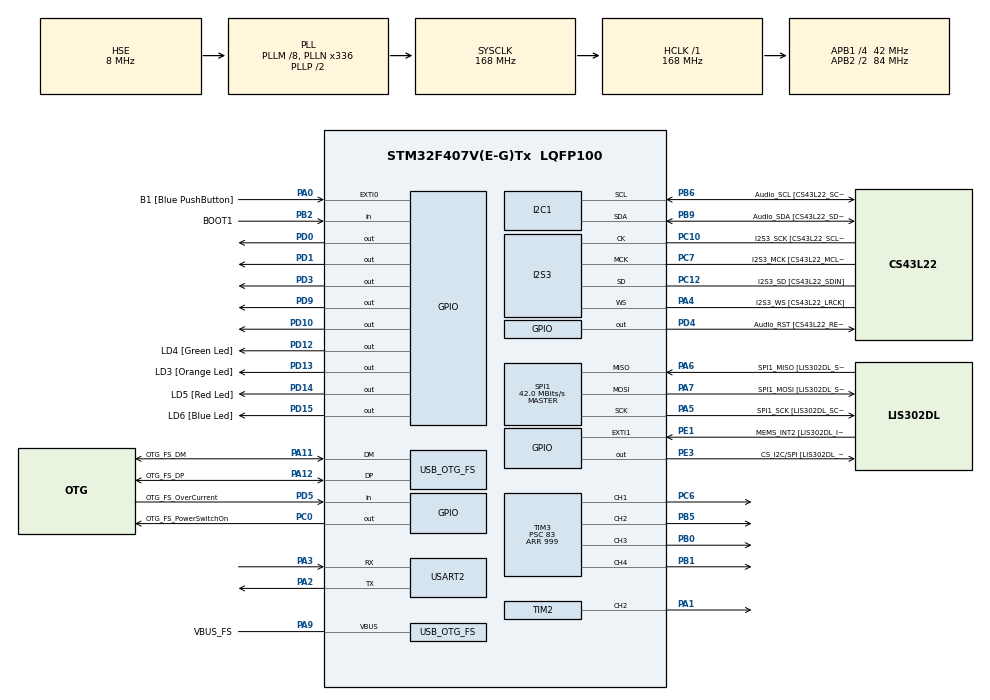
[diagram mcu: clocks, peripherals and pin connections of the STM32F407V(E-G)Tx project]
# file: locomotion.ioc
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I2S3.AudioFreq-Half_Duplex_Master=I2S_AUDIOFREQ_96K
I2S3.ErrorAudioFreq=-2.34 %
I2S3.ErrorAudioFreq-Half_Duplex_Master=0.8 %
I2S3.FullDuplexMode=I2S_FULLDUPLEXMODE_DISABLE
I2S3.Instance=SPI$Index
I2S3.RealAudioFreq=93.75 KHz
I2S3.RealAudioFreq-Half_Duplex_Master=96.774 KHz
I2S3.VirtualMode=I2S_MODE_MASTER
Mcu.Family=STM32F4
Mcu.Name=STM32F407V(E-G)Tx
Mcu.Package=LQFP100
NVIC.OTG_FS_IRQn=true\:0\:0\:false\:false\:true\:true\:true\:true
NVIC.PriorityGroup=NVIC_PRIORITYGROUP_0
PA0-WKUP.GPIO_Label=B1 [Blue PushButton]
PA0-WKUP.GPIO_ModeDefaultEXTI=GPIO_MODE_EVT_RISING
PA0-WKUP.GPIO_PuPd=GPIO_NOPULL
PA0-WKUP.Signal=GPXTI0
PA1.Signal=S_TIM2_CH2
PA10.GPIO_Label=OTG_FS_ID
PA10.GPIO_Mode=GPIO_MODE_AF_PP
PA10.GPIO_PuPd=GPIO_NOPULL
PA10.GPIO_Speed=GPIO_SPEED_FREQ_LOW
PA10.Signal=USB_OTG_FS_ID
PA11.GPIO_Label=OTG_FS_DM
PA11.GPIO_Mode=GPIO_MODE_AF_PP
PA11.GPIO_PuPd=GPIO_NOPULL
PA11.GPIO_Speed=GPIO_SPEED_FREQ_LOW
PA11.Mode=Host_Only
PA11.Signal=USB_OTG_FS_DM
PA12.GPIO_Label=OTG_FS_DP
PA12.GPIO_Mode=GPIO_MODE_AF_PP
PA12.GPIO_PuPd=GPIO_NOPULL
PA12.GPIO_Speed=GPIO_SPEED_FREQ_LOW
PA12.Mode=Host_Only
PA12.Signal=USB_OTG_FS_DP
PA13.GPIO_Label=SWDIO
PA13.Mode=Serial_Wire
PA13.Signal=SYS_JTMS-SWDIO
PA14.GPIO_Label=SWCLK
PA14.Mode=Serial_Wire
PA14.Signal=SYS_JTCK-SWCLK
PA2.Mode=Asynchronous
PA2.Signal=USART2_TX
PA3.Mode=Asynchronous
PA3.Signal=USART2_RX
PA4.GPIO_Label=I2S3_WS [CS43L22_LRCK]
PA4.GPIO_Mode=GPIO_MODE_AF_PP
PA4.GPIO_PuPd=GPIO_NOPULL
PA4.GPIO_Speed=GPIO_SPEED_FREQ_LOW
PA4.Mode=Half_Duplex_Master
PA4.Signal=I2S3_WS
PA5.GPIO_Label=SPI1_SCK [LIS302DL_SCL/SPC]
PA5.GPIO_Mode=GPIO_MODE_AF_PP
PA5.GPIO_PuPd=GPIO_NOPULL
PA5.GPIO_Speed=GPIO_SPEED_FREQ_LOW
PA5.Mode=Full_Duplex_Master
PA5.Signal=SPI1_SCK
PA6.GPIO_Label=SPI1_MISO [LIS302DL_SDO]
PA6.GPIO_Mode=GPIO_MODE_AF_PP
PA6.GPIO_PuPd=GPIO_NOPULL
PA6.GPIO_Speed=GPIO_SPEED_FREQ_LOW
PA6.Mode=Full_Duplex_Master
PA6.Signal=SPI1_MISO
PA7.GPIO_Label=SPI1_MOSI [LIS302DL_SDA/SDI/SDO]
PA7.GPIO_Mode=GPIO_MODE_AF_PP
PA7.GPIO_PuPd=GPIO_NOPULL
PA7.GPIO_Speed=GPIO_SPEED_FREQ_LOW
PA7.Mode=Full_Duplex_Master
PA7.Signal=SPI1_MOSI
PA9.GPIO_Label=VBUS_FS
PA9.GPIO_Mode=GPIO_MODE_INPUT
PA9.GPIO_PuPd=GPIO_NOPULL
PA9.Mode=Activate_VBUS
PA9.Signal=USB_OTG_FS_VBUS
PB0.Signal=S_TIM3_CH3
PB1.Signal=S_TIM3_CH4
PB10.GPIO_Label=CLK_IN [MP45DT02_CLK]
PB10.GPIO_Mode=GPIO_MODE_AF_PP
PB10.GPIO_PuPd=GPIO_NOPULL
PB10.GPIO_Speed=GPIO_SPEED_FREQ_LOW
PB10.Signal=I2S2_CK
PB2.GPIO_Label=BOOT1
PB2.GPIO_Mode=GPIO_MODE_INPUT
PB2.GPIO_PuPd=GPIO_NOPULL
PB2.Signal=GPIO_Input
PB3.GPIO_Label=SWO
PB3.Signal=SYS_JTDO-SWO
PB5.Signal=S_TIM3_CH2
PB6.GPIO_Label=Audio_SCL [CS43L22_SCL]
PB6.GPIO_Mode=GPIO_MODE_AF_OD
PB6.GPIO_Pu=GPIO_PULLUP
PB6.GPIO_PuPd=GPIO_NOPULL
PB6.GPIO_Speed=GPIO_SPEED_FREQ_LOW
PB6.Mode=I2C
PB6.Signal=I2C1_SCL
PB9.GPIO_Label=Audio_SDA [CS43L22_SDA]
PB9.GPIO_Mode=GPIO_MODE_AF_OD
PB9.GPIO_Pu=GPIO_PULLUP
PB9.GPIO_PuPd=GPIO_NOPULL
PB9.GPIO_Speed=GPIO_SPEED_FREQ_LOW
PB9.Mode=I2C
PB9.Signal=I2C1_SDA
PC0.GPIO_Label=OTG_FS_PowerSwitchOn
PC0.GPIO_PuPd=GPIO_NOPULL
PC0.GPIO_Speed=GPIO_SPEED_FREQ_LOW
PC0.PinState=GPIO_PIN_SET
PC0.Signal=GPIO_Output
PC10.GPIO_Label=I2S3_SCK [CS43L22_SCLK]
PC10.GPIO_Mode=GPIO_MODE_AF_PP
PC10.GPIO_PuPd=GPIO_NOPULL
PC10.GPIO_Speed=GPIO_SPEED_FREQ_LOW
PC10.Mode=Half_Duplex_Master
PC10.Signal=I2S3_CK
PC12.GPIO_Label=I2S3_SD [CS43L22_SDIN]
PC12.GPIO_Mode=GPIO_MODE_AF_PP
PC12.GPIO_PuPd=GPIO_NOPULL
PC12.GPIO_Speed=GPIO_SPEED_FREQ_LOW
PC12.Mode=Half_Duplex_Master
PC12.Signal=I2S3_SD
PC14-OSC32_IN.GPIO_Label=PC14-OSC32_IN
PC14-OSC32_IN.Mode=LSE-External-Oscillator
PC14-OSC32_IN.Signal=RCC_OSC32_IN
PC15-OSC32_OUT.GPIO_Label=PC15-OSC32_OUT
PC15-OSC32_OUT.Mode=LSE-External-Oscillator
PC15-OSC32_OUT.Signal=RCC_OSC32_OUT
PC3.GPIO_Label=PDM_OUT [MP45DT02_DOUT]
PC3.GPIO_Mode=GPIO_MODE_AF_PP
PC3.GPIO_PuPd=GPIO_NOPULL
PC3.GPIO_Speed=GPIO_SPEED_FREQ_LOW
PC3.Signal=I2S2_SD
PC6.Signal=S_TIM3_CH1
PC7.GPIO_Label=I2S3_MCK [CS43L22_MCLK]
PC7.GPIO_Mode=GPIO_MODE_AF_PP
PC7.GPIO_PuPd=GPIO_NOPULL
PC7.GPIO_Speed=GPIO_SPEED_FREQ_LOW
PC7.Mode=Master_Clock_Activated
PC7.Signal=I2S3_MCK
PD0.Signal=GPIO_Output
PD1.Signal=GPIO_Output
PD10.Signal=GPIO_Output
PD12.GPIO_Label=LD4 [Green Led]
PD12.GPIO_PuPd=GPIO_NOPULL
PD12.GPIO_Speed=GPIO_SPEED_FREQ_LOW
PD12.Signal=GPIO_Output
PD13.GPIO_Label=LD3 [Orange Led]
PD13.GPIO_PuPd=GPIO_NOPULL
PD13.GPIO_Speed=GPIO_SPEED_FREQ_LOW
PD13.Signal=GPIO_Output
PD14.GPIO_Label=LD5 [Red Led]
PD14.GPIO_PuPd=GPIO_NOPULL
PD14.GPIO_Speed=GPIO_SPEED_FREQ_LOW
PD14.Signal=GPIO_Output
PD15.GPIO_Label=LD6 [Blue Led]
PD15.GPIO_PuPd=GPIO_NOPULL
PD15.GPIO_Speed=GPIO_SPEED_FREQ_LOW
PD15.Signal=GPIO_Output
PD3.Signal=GPIO_Output
PD4.GPIO_Label=Audio_RST [CS43L22_RESET]
PD4.GPIO_PuPd=GPIO_NOPULL
PD4.GPIO_Speed=GPIO_SPEED_FREQ_LOW
PD4.Signal=GPIO_Output
PD5.GPIO_Label=OTG_FS_OverCurrent
PD5.GPIO_Mode=GPIO_MODE_INPUT
PD5.GPIO_PuPd=GPIO_NOPULL
PD5.Signal=GPIO_Input
PD9.Signal=GPIO_Output
PE1.GPIO_Label=MEMS_INT2 [LIS302DL_INT2]
PE1.GPIO_ModeDefaultEXTI=GPIO_MODE_EVT_RISING
PE1.GPIO_PuPd=GPIO_NOPULL
PE1.Signal=GPXTI1
PE3.GPIO_Label=CS_I2C/SPI [LIS302DL_CS_I2C/SPI]
PE3.GPIO_PuPd=GPIO_NOPULL
PE3.GPIO_Speed=GPIO_SPEED_FREQ_LOW
PE3.Signal=GPIO_Output
PH0-OSC_IN.GPIO_Label=PH0-OSC_IN
PH0-OSC_IN.Mode=HSE-External-Oscillator
PH0-OSC_IN.Signal=RCC_OSC_IN
PH1-OSC_OUT.GPIO_Label=PH1-OSC_OUT
PH1-OSC_OUT.Mode=HSE-External-Oscillator
PH1-OSC_OUT.Signal=RCC_OSC_OUT
ProjectManager.HeapSize=0x200
ProjectManager.StackSize=0x400
ProjectManager.TargetToolchain=STM32CubeIDE
RCC.48MHZClocksFreq_Value=48000000
RCC.AHBFreq_Value=168000000
RCC.APB1CLKDivider=RCC_HCLK_DIV4
RCC.APB1Freq_Value=42000000
RCC.APB1TimFreq_Value=84000000
RCC.APB2CLKDivider=RCC_HCLK_DIV2
RCC.APB2Freq_Value=84000000
RCC.APB2TimFreq_Value=168000000
RCC.CortexFreq_Value=168000000
RCC.HCLKFreq_Value=168000000
RCC.HSE_VALUE=8000000
RCC.HSI_VALUE=16000000
RCC.PLLM=8
RCC.PLLN=336
RCC.PLLQ=7
RCC.SYSCLKFreq_VALUE=168000000
RCC.SYSCLKSource=RCC_SYSCLKSOURCE_PLLCLK
RCC.VCOOutputFreq_Value=336000000
SH.S_TIM2_CH2.0=TIM2_CH2,PWM Generation2 CH2
SH.S_TIM3_CH1.0=TIM3_CH1,PWM Generation1 CH1
SH.S_TIM3_CH2.0=TIM3_CH2,PWM Generation2 CH2
SH.S_TIM3_CH3.0=TIM3_CH3,PWM Generation3 CH3
SH.S_TIM3_CH4.0=TIM3_CH4,PWM Generation4 CH4
SPI1.BaudRatePrescaler=SPI_BAUDRATEPRESCALER_2
SPI1.BaudRatePrescaler-Full_Duplex_Master=SPI_BAUDRATEPRESCALER_2
SPI1.CalculateBaudRate=42.0 MBits/s
SPI1.CalculateBaudRate-Full_Duplex_Master=42.0 MBits/s
SPI1.Direction=SPI_DIRECTION_2LINES
SPI1.Mode=SPI_MODE_MASTER
SPI1.Mode-Full_Duplex_Master=SPI_MODE_MASTER
SPI1.VirtualType=VM_MASTER
TIM2.Channel-PWM\ Generation2\ CH2=TIM_CHANNEL_2
TIM2.Period=19999
TIM2.Prescaler=83
TIM3.Channel-PWM\ Generation1\ CH1=TIM_CHANNEL_1
TIM3.Channel-PWM\ Generation2\ CH2=TIM_CHANNEL_2
TIM3.Channel-PWM\ Generation3\ CH3=TIM_CHANNEL_3
TIM3.Channel-PWM\ Generation4\ CH4=TIM_CHANNEL_4
TIM3.Period=999
TIM3.Prescaler=83
USART2.VirtualMode=VM_ASYNC
USB_HOST.BSP.number=1
USB_HOST.USBH_HandleTypeDef-CDC_FS=hUsbHostFS
USB_HOST.VirtualModeFS=Cdc
USB_HOST0.BSP.STBoard=false
USB_HOST0.BSP.api=Unknown
USB_HOST0.BSP.instance=PC0
USB_HOST0.BSP.ip=GPIO
USB_HOST0.BSP.mode=Output
USB_HOST0.BSP.name=Drive_VBUS_FS
USB_HOST0.BSP.solution=PC0
USB_OTG_FS.VirtualMode=Host_Only
USB_OTG_FS.phy_itface=HCD_PHY_EMBEDDED
VP_USB_HOST_VS_USB_HOST_CDC_FS.Mode=CDC_FS
board=STM32F407G-DISC1

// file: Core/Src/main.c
/* USER CODE BEGIN Header */
/**
  ******************************************************************************
  * @file           : main.c
  * @brief          : Main program body
  ******************************************************************************
  * @attention
  *
  * Copyright (c) 2025 STMicroelectronics.
  * All rights reserved.
  *
  * This software is licensed under terms that can be found in the LICENSE file
  * in the root directory of this software component.
  * If no LICENSE file comes with this software, it is provided AS-IS.
  *
  ******************************************************************************
  */
/* USER CODE END Header */
#include "main.h"
#include "usb_host.h"

/* USER CODE BEGIN Includes */
#include <stdio.h>
#include <string.h>
#include <stdint.h>
#include <stdlib.h>
#include <math.h>
/* USER CODE END Includes */

/* USER CODE BEGIN PTD */
typedef struct __attribute__((packed)) {
    uint8_t btn_flag;   // 1 byte
    float   lx;         // 4 bytes
    float   ly;         // 4 bytes
    float   rx;         // 4 bytes
    float   ry;         // 4 bytes
} Packet;

_Static_assert(sizeof(Packet) == 17, "Packet size mismatch");

typedef struct {
    uint8_t up        :1;
    uint8_t down      :1;
    uint8_t left      :1;
    uint8_t right     :1;
    uint8_t triangle  :1;
    uint8_t cross     :1;
    uint8_t square    :1;
    uint8_t circle    :1;
}BitfieldButtonStatusUsr;

/* USER CODE END PTD */

/* USER CODE BEGIN PM */
#define MAX(a,b) ((a) > (b) ? (a) : (b));

#define STX								0xAA

#define INITIAL_ANGLE					0
#define STEP_ANGLE						1
#define MIN_ANGLE						INITIAL_ANGLE
#define MAX_ANGLE						180
#define SERVO_DELAY						20
#define POS_UP							1
#define POS_DOWN						2

#define m1_dir_pin						GPIO_PIN_12
#define m2_dir_pin						GPIO_PIN_13
#define m3_dir_pin						GPIO_PIN_14
#define m4_dir_pin						GPIO_PIN_15

#define m1_pwm_pin						TIM_CHANNEL_1	//PC6
#define m2_pwm_pin						TIM_CHANNEL_2	//PB5
#define m3_pwm_pin						TIM_CHANNEL_3	//PB0
#define m4_pwm_pin						TIM_CHANNEL_4	//PB1

#define PNEUMATIC_PORT					GPIOD
#define PNEUMATIC_PIN_1					GPIO_PIN_0
#define PNEUMATIC_PIN_2					GPIO_PIN_1
/* USER CODE END PM */

I2C_HandleTypeDef hi2c1;

I2S_HandleTypeDef hi2s3;

SPI_HandleTypeDef hspi1;

TIM_HandleTypeDef htim2;
TIM_HandleTypeDef htim3;

UART_HandleTypeDef huart2;

/* USER CODE BEGIN PV */
unsigned long current = 0, previous = 0;

uint8_t rx_val;
Packet rx_pkt;
uint8_t ch, len;

float LX_usr;
float LY_usr;
float RX_usr;
float RY_usr;

BitfieldButtonStatusUsr btnStatus;

uint8_t curr_angle = 0;

//const uint8_t m1_dir_pin;
//const uint8_t m2_dir_pin;
//const uint8_t m3_dir_pin;
//const uint8_t m4_dir_pin;

float m1_pwm, m2_pwm, m3_pwm, m4_pwm;

/* USER CODE END PV */

void SystemClock_Config(void);
static void MX_GPIO_Init(void);
static void MX_I2C1_Init(void);
static void MX_I2S3_Init(void);
static void MX_SPI1_Init(void);
static void MX_TIM2_Init(void);
static void MX_USART2_UART_Init(void);
static void MX_TIM3_Init(void);
void MX_USB_HOST_Process(void);

/* USER CODE BEGIN PFP */
uint32_t millis(void);

void recieve_uart();

void motor_set_speed(TIM_HandleTypeDef *htim, uint32_t channel, float speed);
void motor_set_speed255(TIM_HandleTypeDef *htim, uint32_t channel, uint8_t val);

void Servo_WriteAngle(uint8_t angle);
void servo_handler(uint8_t pos);

int lo_4_wheel_handler();
int lo_4_wheel_calculation(int vx, int vy, int omega);
void lo_4_wheel_run(uint16_t dir_pin, uint8_t mot_pin, float pwm);

void pnuematic_actuation();

/* USER CODE END PFP */

int main(void)
{

  /* MCU Configuration--------------------------------------------------------*/

  /* Reset of all peripherals, Initializes the Flash interface and the Systick. */

  /* Configure the system clock */
  SystemClock_Config();

  /* Initialize all configured peripherals */
  MX_GPIO_Init();
  MX_I2C1_Init();
  MX_I2S3_Init();
  MX_SPI1_Init();
  MX_USB_HOST_Init();
  MX_TIM2_Init();
  MX_USART2_UART_Init();
  MX_TIM3_Init();

  /* Infinite loop */
  /* USER CODE BEGIN WHILE */
  HAL_TIM_PWM_Start(&htim3, TIM_CHANNEL_1);
  HAL_TIM_PWM_Start(&htim3, TIM_CHANNEL_2);
  HAL_TIM_PWM_Start(&htim3, TIM_CHANNEL_3);
  HAL_TIM_PWM_Start(&htim3, TIM_CHANNEL_4);

  printf("STM32 Ready\n");
  Servo_WriteAngle(INITIAL_ANGLE);
  while (1)
  {
	  recieve_uart();
//	  printf("LX = %.2f | LY = %.2f", LX_usr, LY_usr);
	  lo_4_wheel_handler();
//	  rx_pkt.lx = 0;
//	  rx_pkt.ly = 0;
//	  rx_pkt.ry = 0;
//	  rx_pkt.ry = 0;
//
//	  LX_usr = 0;
//	  LY_usr = 0;
//	  RX_usr = 0;
//	  RY_usr = 0;

	  pnuematic_actuation();
    /* USER CODE END WHILE */
    MX_USB_HOST_Process();

  }
}

void SystemClock_Config(void)
{
  RCC_OscInitTypeDef RCC_OscInitStruct = {0};
  RCC_ClkInitTypeDef RCC_ClkInitStruct = {0};

  /** Configure the main internal regulator output voltage
  */
  __HAL_RCC_PWR_CLK_ENABLE();
  __HAL_PWR_VOLTAGESCALING_CONFIG(PWR_REGULATOR_VOLTAGE_SCALE1);

  /** Initializes the RCC Oscillators according to the specified parameters
  * in the RCC_OscInitTypeDef structure.
  */
  RCC_OscInitStruct.OscillatorType = RCC_OSCILLATORTYPE_HSE;
  RCC_OscInitStruct.HSEState = RCC_HSE_ON;
  RCC_OscInitStruct.PLL.PLLState = RCC_PLL_ON;
  RCC_OscInitStruct.PLL.PLLSource = RCC_PLLSOURCE_HSE;
  RCC_OscInitStruct.PLL.PLLM = 8;
  RCC_OscInitStruct.PLL.PLLN = 336;
  RCC_OscInitStruct.PLL.PLLP = RCC_PLLP_DIV2;
  RCC_OscInitStruct.PLL.PLLQ = 7;
  if (HAL_RCC_OscConfig(&RCC_OscInitStruct) != HAL_OK)
  {
    Error_Handler();
  }

  /** Initializes the CPU, AHB and APB buses clocks
  */
  RCC_ClkInitStruct.ClockType = RCC_CLOCKTYPE_HCLK|RCC_CLOCKTYPE_SYSCLK
                              |RCC_CLOCKTYPE_PCLK1|RCC_CLOCKTYPE_PCLK2;
  RCC_ClkInitStruct.SYSCLKSource = RCC_SYSCLKSOURCE_PLLCLK;
  RCC_ClkInitStruct.AHBCLKDivider = RCC_SYSCLK_DIV1;
  RCC_ClkInitStruct.APB1CLKDivider = RCC_HCLK_DIV4;
  RCC_ClkInitStruct.APB2CLKDivider = RCC_HCLK_DIV2;

  if (HAL_RCC_ClockConfig(&RCC_ClkInitStruct, FLASH_LATENCY_5) != HAL_OK)
  {
    Error_Handler();
  }
}

static void MX_I2C1_Init(void)
{

  hi2c1.Instance = I2C1;
  hi2c1.Init.ClockSpeed = 100000;
  hi2c1.Init.DutyCycle = I2C_DUTYCYCLE_2;
  hi2c1.Init.OwnAddress1 = 0;
  hi2c1.Init.AddressingMode = I2C_ADDRESSINGMODE_7BIT;
  hi2c1.Init.DualAddressMode = I2C_DUALADDRESS_DISABLE;
  hi2c1.Init.OwnAddress2 = 0;
  hi2c1.Init.GeneralCallMode = I2C_GENERALCALL_DISABLE;
  hi2c1.Init.NoStretchMode = I2C_NOSTRETCH_DISABLE;
  if (HAL_I2C_Init(&hi2c1) != HAL_OK)
  {
    Error_Handler();
  }

}

static void MX_I2S3_Init(void)
{

  hi2s3.Instance = SPI3;
  hi2s3.Init.Mode = I2S_MODE_MASTER_TX;
  hi2s3.Init.Standard = I2S_STANDARD_PHILIPS;
  hi2s3.Init.DataFormat = I2S_DATAFORMAT_16B;
  hi2s3.Init.MCLKOutput = I2S_MCLKOUTPUT_ENABLE;
  hi2s3.Init.AudioFreq = I2S_AUDIOFREQ_96K;
  hi2s3.Init.CPOL = I2S_CPOL_LOW;
  hi2s3.Init.ClockSource = I2S_CLOCK_PLL;
  hi2s3.Init.FullDuplexMode = I2S_FULLDUPLEXMODE_DISABLE;
  if (HAL_I2S_Init(&hi2s3) != HAL_OK)
  {
    Error_Handler();
  }

}

static void MX_SPI1_Init(void)
{

  /* SPI1 parameter configuration*/
  hspi1.Instance = SPI1;
  hspi1.Init.Mode = SPI_MODE_MASTER;
  hspi1.Init.Direction = SPI_DIRECTION_2LINES;
  hspi1.Init.DataSize = SPI_DATASIZE_8BIT;
  hspi1.Init.CLKPolarity = SPI_POLARITY_LOW;
  hspi1.Init.CLKPhase = SPI_PHASE_1EDGE;
  hspi1.Init.NSS = SPI_NSS_SOFT;
  hspi1.Init.BaudRatePrescaler = SPI_BAUDRATEPRESCALER_2;
  hspi1.Init.FirstBit = SPI_FIRSTBIT_MSB;
  hspi1.Init.TIMode = SPI_TIMODE_DISABLE;
  hspi1.Init.CRCCalculation = SPI_CRCCALCULATION_DISABLE;
  hspi1.Init.CRCPolynomial = 10;
  if (HAL_SPI_Init(&hspi1) != HAL_OK)
  {
    Error_Handler();
  }

}

static void MX_TIM2_Init(void)
{

  TIM_MasterConfigTypeDef sMasterConfig = {0};
  TIM_OC_InitTypeDef sConfigOC = {0};

  htim2.Instance = TIM2;
  htim2.Init.Prescaler = 83;
  htim2.Init.CounterMode = TIM_COUNTERMODE_UP;
  htim2.Init.Period = 19999;
  htim2.Init.ClockDivision = TIM_CLOCKDIVISION_DIV1;
  htim2.Init.AutoReloadPreload = TIM_AUTORELOAD_PRELOAD_DISABLE;
  if (HAL_TIM_PWM_Init(&htim2) != HAL_OK)
  {
    Error_Handler();
  }
  sMasterConfig.MasterOutputTrigger = TIM_TRGO_RESET;
  sMasterConfig.MasterSlaveMode = TIM_MASTERSLAVEMODE_DISABLE;
  if (HAL_TIMEx_MasterConfigSynchronization(&htim2, &sMasterConfig) != HAL_OK)
  {
    Error_Handler();
  }
  sConfigOC.OCMode = TIM_OCMODE_PWM1;
  sConfigOC.Pulse = 0;
  sConfigOC.OCPolarity = TIM_OCPOLARITY_HIGH;
  sConfigOC.OCFastMode = TIM_OCFAST_DISABLE;
  if (HAL_TIM_PWM_ConfigChannel(&htim2, &sConfigOC, TIM_CHANNEL_2) != HAL_OK)
  {
    Error_Handler();
  }
  HAL_TIM_MspPostInit(&htim2);

}

static void MX_TIM3_Init(void)
{

  TIM_MasterConfigTypeDef sMasterConfig = {0};
  TIM_OC_InitTypeDef sConfigOC = {0};

  htim3.Instance = TIM3;
  htim3.Init.Prescaler = 83;
  htim3.Init.CounterMode = TIM_COUNTERMODE_UP;
  htim3.Init.Period = 999;
  htim3.Init.ClockDivision = TIM_CLOCKDIVISION_DIV1;
  htim3.Init.AutoReloadPreload = TIM_AUTORELOAD_PRELOAD_DISABLE;
  if (HAL_TIM_PWM_Init(&htim3) != HAL_OK)
  {
    Error_Handler();
  }
  sMasterConfig.MasterOutputTrigger = TIM_TRGO_RESET;
  sMasterConfig.MasterSlaveMode = TIM_MASTERSLAVEMODE_DISABLE;
  if (HAL_TIMEx_MasterConfigSynchronization(&htim3, &sMasterConfig) != HAL_OK)
  {
    Error_Handler();
  }
  sConfigOC.OCMode = TIM_OCMODE_PWM1;
  sConfigOC.Pulse = 0;
  sConfigOC.OCPolarity = TIM_OCPOLARITY_HIGH;
  sConfigOC.OCFastMode = TIM_OCFAST_DISABLE;
  if (HAL_TIM_PWM_ConfigChannel(&htim3, &sConfigOC, TIM_CHANNEL_1) != HAL_OK)
  {
    Error_Handler();
  }
  if (HAL_TIM_PWM_ConfigChannel(&htim3, &sConfigOC, TIM_CHANNEL_2) != HAL_OK)
  {
    Error_Handler();
  }
  if (HAL_TIM_PWM_ConfigChannel(&htim3, &sConfigOC, TIM_CHANNEL_3) != HAL_OK)
  {
    Error_Handler();
  }
  if (HAL_TIM_PWM_ConfigChannel(&htim3, &sConfigOC, TIM_CHANNEL_4) != HAL_OK)
  {
    Error_Handler();
  }
  HAL_TIM_MspPostInit(&htim3);

}

static void MX_USART2_UART_Init(void)
{

  huart2.Instance = USART2;
  huart2.Init.BaudRate = 115200;
  huart2.Init.WordLength = UART_WORDLENGTH_8B;
  huart2.Init.StopBits = UART_STOPBITS_1;
  huart2.Init.Parity = UART_PARITY_NONE;
  huart2.Init.Mode = UART_MODE_TX_RX;
  huart2.Init.HwFlowCtl = UART_HWCONTROL_NONE;
  huart2.Init.OverSampling = UART_OVERSAMPLING_16;
  if (HAL_UART_Init(&huart2) != HAL_OK)
  {
    Error_Handler();
  }

}

static void MX_GPIO_Init(void)
{
  GPIO_InitTypeDef GPIO_InitStruct = {0};

  /* GPIO Ports Clock Enable */
  __HAL_RCC_GPIOE_CLK_ENABLE();
  __HAL_RCC_GPIOC_CLK_ENABLE();
  __HAL_RCC_GPIOH_CLK_ENABLE();
  __HAL_RCC_GPIOA_CLK_ENABLE();
  __HAL_RCC_GPIOB_CLK_ENABLE();
  __HAL_RCC_GPIOD_CLK_ENABLE();

  /*Configure GPIO pin Output Level */
  HAL_GPIO_WritePin(CS_I2C_SPI_GPIO_Port, CS_I2C_SPI_Pin, GPIO_PIN_RESET);

  /*Configure GPIO pin Output Level */
  HAL_GPIO_WritePin(OTG_FS_PowerSwitchOn_GPIO_Port, OTG_FS_PowerSwitchOn_Pin, GPIO_PIN_SET);

  /*Configure GPIO pin Output Level */
  HAL_GPIO_WritePin(GPIOD, GPIO_PIN_9|GPIO_PIN_10|LD4_Pin|LD3_Pin
                          |LD5_Pin|LD6_Pin|GPIO_PIN_0|GPIO_PIN_1
                          |GPIO_PIN_3|Audio_RST_Pin, GPIO_PIN_RESET);

  /*Configure GPIO pin : CS_I2C_SPI_Pin */
  GPIO_InitStruct.Pin = CS_I2C_SPI_Pin;
  GPIO_InitStruct.Mode = GPIO_MODE_OUTPUT_PP;
  GPIO_InitStruct.Pull = GPIO_NOPULL;
  GPIO_InitStruct.Speed = GPIO_SPEED_FREQ_LOW;
  HAL_GPIO_Init(CS_I2C_SPI_GPIO_Port, &GPIO_InitStruct);

  /*Configure GPIO pin : OTG_FS_PowerSwitchOn_Pin */
  GPIO_InitStruct.Pin = OTG_FS_PowerSwitchOn_Pin;
  GPIO_InitStruct.Mode = GPIO_MODE_OUTPUT_PP;
  GPIO_InitStruct.Pull = GPIO_NOPULL;
  GPIO_InitStruct.Speed = GPIO_SPEED_FREQ_LOW;
  HAL_GPIO_Init(OTG_FS_PowerSwitchOn_GPIO_Port, &GPIO_InitStruct);

  /*Configure GPIO pin : PDM_OUT_Pin */
  GPIO_InitStruct.Pin = PDM_OUT_Pin;
  GPIO_InitStruct.Mode = GPIO_MODE_AF_PP;
  GPIO_InitStruct.Pull = GPIO_NOPULL;
  GPIO_InitStruct.Speed = GPIO_SPEED_FREQ_LOW;
  GPIO_InitStruct.Alternate = GPIO_AF5_SPI2;
  HAL_GPIO_Init(PDM_OUT_GPIO_Port, &GPIO_InitStruct);

  /*Configure GPIO pin : B1_Pin */
  GPIO_InitStruct.Pin = B1_Pin;
  GPIO_InitStruct.Mode = GPIO_MODE_EVT_RISING;
  GPIO_InitStruct.Pull = GPIO_NOPULL;
  HAL_GPIO_Init(B1_GPIO_Port, &GPIO_InitStruct);

  /*Configure GPIO pin : BOOT1_Pin */
  GPIO_InitStruct.Pin = BOOT1_Pin;
  GPIO_InitStruct.Mode = GPIO_MODE_INPUT;
  GPIO_InitStruct.Pull = GPIO_NOPULL;
  HAL_GPIO_Init(BOOT1_GPIO_Port, &GPIO_InitStruct);

  /*Configure GPIO pin : CLK_IN_Pin */
  GPIO_InitStruct.Pin = CLK_IN_Pin;
  GPIO_InitStruct.Mode = GPIO_MODE_AF_PP;
  GPIO_InitStruct.Pull = GPIO_NOPULL;
  GPIO_InitStruct.Speed = GPIO_SPEED_FREQ_LOW;
  GPIO_InitStruct.Alternate = GPIO_AF5_SPI2;
  HAL_GPIO_Init(CLK_IN_GPIO_Port, &GPIO_InitStruct);

  /*Configure GPIO pins : PD9 PD10 LD4_Pin LD3_Pin
                           LD5_Pin LD6_Pin PD0 PD1
                           PD3 Audio_RST_Pin */
  GPIO_InitStruct.Pin = GPIO_PIN_9|GPIO_PIN_10|LD4_Pin|LD3_Pin
                          |LD5_Pin|LD6_Pin|GPIO_PIN_0|GPIO_PIN_1
                          |GPIO_PIN_3|Audio_RST_Pin;
  GPIO_InitStruct.Mode = GPIO_MODE_OUTPUT_PP;
  GPIO_InitStruct.Pull = GPIO_NOPULL;
  GPIO_InitStruct.Speed = GPIO_SPEED_FREQ_LOW;
  HAL_GPIO_Init(GPIOD, &GPIO_InitStruct);

  /*Configure GPIO pin : OTG_FS_OverCurrent_Pin */
  GPIO_InitStruct.Pin = OTG_FS_OverCurrent_Pin;
  GPIO_InitStruct.Mode = GPIO_MODE_INPUT;
  GPIO_InitStruct.Pull = GPIO_NOPULL;
  HAL_GPIO_Init(OTG_FS_OverCurrent_GPIO_Port, &GPIO_InitStruct);

  /*Configure GPIO pin : MEMS_INT2_Pin */
  GPIO_InitStruct.Pin = MEMS_INT2_Pin;
  GPIO_InitStruct.Mode = GPIO_MODE_EVT_RISING;
  GPIO_InitStruct.Pull = GPIO_NOPULL;
  HAL_GPIO_Init(MEMS_INT2_GPIO_Port, &GPIO_InitStruct);

}

/* USER CODE BEGIN 4 */
void recieve_uart(){
	while(1){
		 do {
			  HAL_UART_Receive(&huart2, &ch, 1, HAL_MAX_DELAY);
		 }while (ch != STX);

		// Read length
		HAL_UART_Receive(&huart2, &len, 1, HAL_MAX_DELAY);
		if (len != sizeof(Packet)) {
			 continue;
	}

		// Read payload directly into struct
		HAL_UART_Receive(&huart2, (uint8_t*)&rx_pkt, len, HAL_MAX_DELAY);
		break;
	}
	// Use values directly
	if (rx_pkt.btn_flag & (1 << 7)) {
		printf("Circle pressed\n");
		btnStatus.circle = 1;
	}
	if (rx_pkt.btn_flag & (1 << 6)) {
		printf("Square pressed\n");
		btnStatus.square = 1;
	}
	if (rx_pkt.btn_flag & (1 << 5)) {
		printf("Cross pressed\n");
		btnStatus.cross = 1;
	}
	if (rx_pkt.btn_flag & (1 << 4)) {
		printf("Triangle pressed\n");
		btnStatus.triangle = 1;
	}
	if (rx_pkt.btn_flag & (1 << 3)) {
		printf("Right pressed\n");
		btnStatus.right = 1;
	}
	if (rx_pkt.btn_flag & (1 << 2)) {
		printf("Left pressed\n");
		btnStatus.left = 1;
	}
	if (rx_pkt.btn_flag & (1 << 1)) {
		printf("Down pressed\n");
		btnStatus.down = 1;
	}
	if (rx_pkt.btn_flag & (1 << 0)) {
		printf("Up pressed\n");
		btnStatus.up = 1;
	}

	LX_usr = rx_pkt.lx;
	LY_usr = rx_pkt.ly;
	RX_usr = rx_pkt.rx;
	RY_usr = rx_pkt.ry;

//	printf("FLAG = %02X | LX = %.2f | LY = %.2f | RX = %.2f | RY = %.2f\n", rx_pkt.btn_flag,  rx_pkt.lx, rx_pkt.ly, rx_pkt.rx, rx_pkt.ry);
}

void Servo_WriteAngle(uint8_t angle){
	//Clamp value 0-180
	if(angle > 180)angle=180;

	//Map 0-180 -> 1000 - 2000us
	uint16_t pulse = 1000 + (angle * 1000)/180;

	__HAL_TIM_SET_COMPARE(&htim2, TIM_CHANNEL_2, pulse);
}

void servo_handler(uint8_t pos){
	if(curr_angle >= MAX_ANGLE){
	  curr_angle = MAX_ANGLE;
	  printf("Current Angle: %d\n", curr_angle);
	}else if(curr_angle <= MIN_ANGLE){
	  curr_angle = 0;
	  printf("Current Angle: %d\n", curr_angle);
	}

	if(pos == POS_UP){
		HAL_Delay(SERVO_DELAY);
		Servo_WriteAngle((curr_angle+=STEP_ANGLE));
	}else if(pos == POS_DOWN){
		HAL_Delay(SERVO_DELAY);
		Servo_WriteAngle((curr_angle-=STEP_ANGLE));
	}
}

int lo_4_wheel_handler(){
	int x = LY_usr;
	int y = LX_usr;
	int w = RX_usr;

    if(abs(x) < 20) x = 0;
    if(abs(y) < 20) y = 0;
    if(abs(w) < 20) w = 0;

    int vx = (x * 255) / 127;
    int vy = (y * 255) / 127;
    int omega = (w * 255) / 127;

    lo_4_wheel_calculation(vx, vy, omega);

    lo_4_wheel_run(m1_dir_pin, m1_pwm_pin, m1_pwm);
    lo_4_wheel_run(m2_dir_pin, m2_pwm_pin, m2_pwm);
    lo_4_wheel_run(m3_dir_pin, m3_pwm_pin, m3_pwm);
    lo_4_wheel_run(m4_dir_pin, m4_pwm_pin, m4_pwm);
    return 0;
}

int lo_4_wheel_calculation(int vx, int vy, int omega){
	m1_pwm = (vx+vy+omega);
	m2_pwm = (vx-vy-omega);
	m3_pwm = (-vx-vy+omega);
	m4_pwm = (-vx+vy-omega);

	// ---------- NORMALIZATION (CRTT) ----------
	float maxraw_1 = MAX(fabs(m1_pwm), fabs(m2_pwm));
	float maxraw_2 = MAX(fabs(m3_pwm), fabs(m4_pwm));
	float maxraw = MAX(maxraw_1, maxraw_2);

	if(maxraw > 255.0){
	float scale = 255.0 / maxraw;
	m1_pwm = (m1_pwm * scale);
	m2_pwm = (m2_pwm * scale);
	m3_pwm = (m3_pwm * scale);
	m4_pwm = (m4_pwm * scale);
	}
	// -----------------------------------------

	current = millis();
	if(current-previous >= 1000)
	{
//		printf("m1 = %f", m1_pwm);
//		printf("m2 = %f", m2_pwm);
//		printf("m3 = %f", m3_pwm);
//		printf("m4 = %f", m4_pwm);
		printf("m1 = %.2f  |  m2 = %.2f  |  m3 = %.2f |  m4 = %.2f\n", m1_pwm, m2_pwm, m3_pwm, m4_pwm);
		previous = millis();
	}

//	printf("m1 = %f  |  m2 = %f  |  m3 = %f |  m4 = %f", m1_pwm, m2_pwm, m3_pwm, m4_pwm);
	return 0;
}

void lo_4_wheel_run(uint16_t dir_pin, uint8_t mot_pin, float pwm){
	if(pwm > 0){
		HAL_GPIO_WritePin(GPIOD, dir_pin, SET);
	}else{
		HAL_GPIO_WritePin(GPIOD, dir_pin, RESET);
		pwm = abs(pwm);
	}
//	printf("pwm = %.2f\n", pwm);
	motor_set_speed255(&htim3, mot_pin, pwm);
}

//Speed value 0.0 <--> 1.0
void motor_set_speed(TIM_HandleTypeDef *htim, uint32_t channel, float speed)
{
    // speed: 0.0 → 1.0
    if (speed < 0.0f) speed = 0.0f;
    if (speed > 1.0f) speed = 1.0f;

    uint32_t arr = __HAL_TIM_GET_AUTORELOAD(htim);
    uint32_t ccr = (uint32_t)((arr + 1) * speed);

    __HAL_TIM_SET_COMPARE(htim, channel, ccr);
}

//This function allows to do analogwrite() like behavior val = (0 - 255)
void motor_set_speed255(TIM_HandleTypeDef *htim, uint32_t channel, uint8_t val)
{
    uint32_t arr = __HAL_TIM_GET_AUTORELOAD(htim);
    uint32_t ccr = (val * (arr + 1)) / 255;

    __HAL_TIM_SET_COMPARE(htim, channel, ccr);
}

void pnuematic_actuation()
{
	if(btnStatus.circle == 1){
		HAL_GPIO_WritePin(PNEUMATIC_PORT, PNEUMATIC_PIN_1, SET);
		HAL_GPIO_WritePin(PNEUMATIC_PORT, PNEUMATIC_PIN_2, RESET);
	}else if(btnStatus.square == 1){
		HAL_GPIO_WritePin(PNEUMATIC_PORT, PNEUMATIC_PIN_1, RESET);
		HAL_GPIO_WritePin(PNEUMATIC_PORT, PNEUMATIC_PIN_2, SET);
	}
}

uint32_t millis(void){
	return HAL_GetTick();
}

/* USER CODE END 4 */

void Error_Handler(void)
{
  __disable_irq();
  while (1)
  {
  }
}
